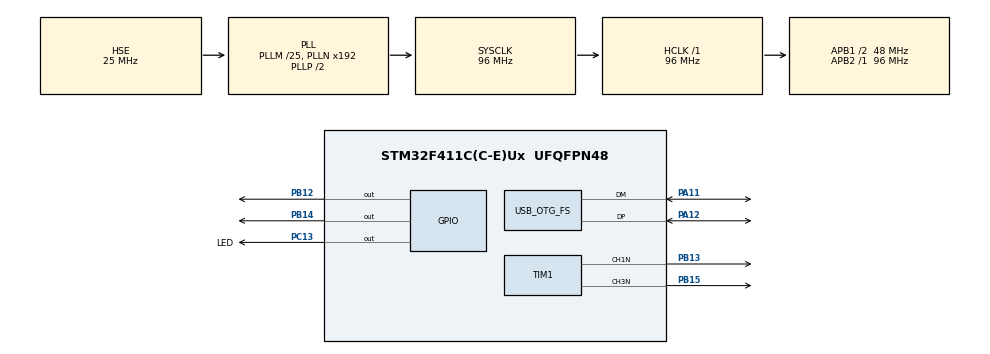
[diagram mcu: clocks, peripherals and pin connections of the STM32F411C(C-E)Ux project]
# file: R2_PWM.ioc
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Mcu.Family=STM32F4
Mcu.Name=STM32F411C(C-E)Ux
Mcu.Package=UFQFPN48
NVIC.OTG_FS_IRQn=true\:0\:0\:false\:false\:true\:false\:true\:true
NVIC.PriorityGroup=NVIC_PRIORITYGROUP_4
PA11.Mode=Device_Only
PA11.Signal=USB_OTG_FS_DM
PA12.Mode=Device_Only
PA12.Signal=USB_OTG_FS_DP
PB12.Signal=GPIO_Output
PB13.Mode=PWM Generation1 CH1N
PB13.Signal=TIM1_CH1N
PB14.Signal=GPIO_Output
PB15.Mode=PWM Generation3 CH3N
PB15.Signal=TIM1_CH3N
PC13-ANTI_TAMP.GPIO_Label=LED
PC13-ANTI_TAMP.Signal=GPIO_Output
PH0\ -\ OSC_IN.Mode=HSE-External-Oscillator
PH0\ -\ OSC_IN.Signal=RCC_OSC_IN
PH1\ -\ OSC_OUT.Mode=HSE-External-Oscillator
PH1\ -\ OSC_OUT.Signal=RCC_OSC_OUT
ProjectManager.HeapSize=0x200
ProjectManager.StackSize=0x400
ProjectManager.TargetToolchain=STM32CubeIDE
RCC.48MHZClocksFreq_Value=48000000
RCC.AHBFreq_Value=96000000
RCC.APB1CLKDivider=RCC_HCLK_DIV2
RCC.APB1Freq_Value=48000000
RCC.APB1TimFreq_Value=96000000
RCC.APB2Freq_Value=96000000
RCC.APB2TimFreq_Value=96000000
RCC.CortexFreq_Value=96000000
RCC.HCLKFreq_Value=96000000
RCC.HSE_VALUE=25000000
RCC.HSI_VALUE=16000000
RCC.LSE_VALUE=32768
RCC.PLLM=25
RCC.SYSCLKFreq_VALUE=96000000
RCC.SYSCLKSource=RCC_SYSCLKSOURCE_PLLCLK
RCC.VCOOutputFreq_Value=192000000
TIM1.Channel-PWM\ Generation1\ CH1N=TIM_CHANNEL_1
TIM1.Channel-PWM\ Generation3\ CH3N=TIM_CHANNEL_3
USB_DEVICE.CLASS_NAME_FS=CDC
USB_DEVICE.VirtualMode=Cdc
USB_DEVICE.VirtualModeFS=Cdc_FS
USB_OTG_FS.VirtualMode=Device_Only
VP_TIM1_VS_ClockSourceINT.Mode=Internal
VP_USB_DEVICE_VS_USB_DEVICE_CDC_FS.Mode=CDC_FS
board=custom

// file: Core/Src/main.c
/* USER CODE BEGIN Header */
/**
 ******************************************************************************
 * @file           : main.c
 * @brief          : Main program body
 ******************************************************************************
 * @attention
 *
 * Copyright (c) 2024 STMicroelectronics.
 * All rights reserved.
 *
 * This software is licensed under terms that can be found in the LICENSE file
 * in the root directory of this software component.
 * If no LICENSE file comes with this software, it is provided AS-IS.
 *
 ******************************************************************************
 */
/* USER CODE END Header */
#include "main.h"
#include "usb_device.h"

/* USER CODE BEGIN Includes */
#include "usbd_cdc_if.h"
#include "string.h"

/* USER CODE END Includes */

/* USER CODE BEGIN PD */
#define BUFFER_LENGTH 64
#define SOL_INTERVAL 10000
#define LEFT_SHIFT 8

/* USER CODE END PD */

TIM_HandleTypeDef htim1;

/* USER CODE BEGIN PV */
char buffer[BUFFER_LENGTH];

/* USER CODE END PV */

void SystemClock_Config(void);
static void MX_GPIO_Init(void);
static void MX_TIM1_Init(void);

/* USER CODE BEGIN 0 */
int isCleared(char *buffer) {
	for (uint8_t i = 0; i < BUFFER_LENGTH; i++) {
		if (buffer[i] != '\0') {
			return 0;  // Buffer is not cleared
		}
	}
	return 1;  // Buffer is cleared
}

/* USER CODE END 0 */

int main(void)
{

  /* USER CODE BEGIN 1 */
	uint32_t lastSOL = 0;

	int8_t dir[2] = { 0 };
	int16_t pwm[2] = { 0 };

	char message[BUFFER_LENGTH + 20];
  /* USER CODE END 1 */

  /* MCU Configuration--------------------------------------------------------*/

  /* Reset of all peripherals, Initializes the Flash interface and the Systick. */
  HAL_Init();

  /* Configure the system clock */
  SystemClock_Config();

  /* Initialize all configured peripherals */
  MX_GPIO_Init();
  MX_USB_DEVICE_Init();
  MX_TIM1_Init();
  /* USER CODE BEGIN 2 */
	if ((HAL_TIMEx_PWMN_Start(&htim1, TIM_CHANNEL_1) == HAL_OK)) {	//<-MOTORS HERE
		sprintf(message, "TIM1->CH1N active\n\r");
	} else {
		sprintf(message, "TIM1->CH1N error\n\r");
	}
	CDC_Transmit_FS((uint8_t*) message, strlen(message));
	HAL_Delay(1);

	if ((HAL_TIMEx_PWMN_Start(&htim1, TIM_CHANNEL_3) == HAL_OK)) {
		sprintf(message, "TIM1->CH3N active\n\r");
	} else {
		sprintf(message, "TIM1->CH3N error\n\r");
	}
	CDC_Transmit_FS((uint8_t*) message, strlen(message));
	HAL_Delay(1);

	sprintf(message, "F411 Black Pill online\n\r");
	CDC_Transmit_FS((uint8_t*) message, strlen(message));
	HAL_Delay(1);

  /* USER CODE END 2 */

  /* Infinite loop */
  /* USER CODE BEGIN WHILE */
	while (1) {
		uint32_t current_time = HAL_GetTick();

		if (!isCleared(buffer)) {
			char receivedStr[BUFFER_LENGTH];

			sprintf(message, "String Received: %s\n\r", buffer);
			CDC_Transmit_FS((uint8_t*) message, strlen(message));

			sprintf(receivedStr, "%s", buffer);
			uint8_t receivedStrlen = strlen(receivedStr);

			if (receivedStr[receivedStrlen - 1] == 'A') {
				uint8_t arrIndex = 1;
				uint8_t multiplier = 1;

				for (uint8_t i = 0; i < 2; i++) {
					dir[i] = 0;
					pwm[i] = 0;
				}

				for (int8_t i = receivedStrlen - 2; i >= 0; i--) {
					if (receivedStr[i] >= '0' && receivedStr[i] <= '9') {
						pwm[arrIndex] += (receivedStr[i] - '0') * multiplier;
						multiplier *= 10;
					} else if (receivedStr[i] == '-') {
						dir[arrIndex] = 1;
					} else if (receivedStr[i] == ',') {
						arrIndex--;
						multiplier = 1;
					}
				}
			}

			sprintf(message, "Dir0: %d PWM0: %d Dir1: %d PWM1: %d\n\r", dir[0],
					pwm[0], dir[1], pwm[1]);
			CDC_Transmit_FS((uint8_t*) message, strlen(message));

			HAL_GPIO_WritePin(GPIOB, GPIO_PIN_12, dir[0]);		//<-MOTORS HERE
			TIM1->CCR1 = pwm[0] << LEFT_SHIFT;
			HAL_GPIO_WritePin(GPIOB, GPIO_PIN_14, dir[1]);
			TIM1->CCR3 = pwm[1] << LEFT_SHIFT;

			memset(buffer, '\0', BUFFER_LENGTH);

		} else if (current_time - lastSOL >= SOL_INTERVAL) {
			CDC_Transmit_FS((uint8_t*) "SOL\n\r", strlen("SOL\n\r"));
			lastSOL = current_time;
		}

		HAL_Delay(1);
    /* USER CODE END WHILE */

	}
}

void SystemClock_Config(void)
{
  RCC_OscInitTypeDef RCC_OscInitStruct = {0};
  RCC_ClkInitTypeDef RCC_ClkInitStruct = {0};

  /** Configure the main internal regulator output voltage
  */
  __HAL_RCC_PWR_CLK_ENABLE();
  __HAL_PWR_VOLTAGESCALING_CONFIG(PWR_REGULATOR_VOLTAGE_SCALE1);

  /** Initializes the RCC Oscillators according to the specified parameters
  * in the RCC_OscInitTypeDef structure.
  */
  RCC_OscInitStruct.OscillatorType = RCC_OSCILLATORTYPE_HSE;
  RCC_OscInitStruct.HSEState = RCC_HSE_ON;
  RCC_OscInitStruct.PLL.PLLState = RCC_PLL_ON;
  RCC_OscInitStruct.PLL.PLLSource = RCC_PLLSOURCE_HSE;
  RCC_OscInitStruct.PLL.PLLM = 25;
  RCC_OscInitStruct.PLL.PLLN = 192;
  RCC_OscInitStruct.PLL.PLLP = RCC_PLLP_DIV2;
  RCC_OscInitStruct.PLL.PLLQ = 4;
  if (HAL_RCC_OscConfig(&RCC_OscInitStruct) != HAL_OK)
  {
    Error_Handler();
  }

  /** Initializes the CPU, AHB and APB buses clocks
  */
  RCC_ClkInitStruct.ClockType = RCC_CLOCKTYPE_HCLK|RCC_CLOCKTYPE_SYSCLK
                              |RCC_CLOCKTYPE_PCLK1|RCC_CLOCKTYPE_PCLK2;
  RCC_ClkInitStruct.SYSCLKSource = RCC_SYSCLKSOURCE_PLLCLK;
  RCC_ClkInitStruct.AHBCLKDivider = RCC_SYSCLK_DIV1;
  RCC_ClkInitStruct.APB1CLKDivider = RCC_HCLK_DIV2;
  RCC_ClkInitStruct.APB2CLKDivider = RCC_HCLK_DIV1;

  if (HAL_RCC_ClockConfig(&RCC_ClkInitStruct, FLASH_LATENCY_3) != HAL_OK)
  {
    Error_Handler();
  }
}

static void MX_TIM1_Init(void)
{

  TIM_ClockConfigTypeDef sClockSourceConfig = {0};
  TIM_MasterConfigTypeDef sMasterConfig = {0};
  TIM_OC_InitTypeDef sConfigOC = {0};
  TIM_BreakDeadTimeConfigTypeDef sBreakDeadTimeConfig = {0};

  htim1.Instance = TIM1;
  htim1.Init.Prescaler = 0;
  htim1.Init.CounterMode = TIM_COUNTERMODE_UP;
  htim1.Init.Period = 65535;
  htim1.Init.ClockDivision = TIM_CLOCKDIVISION_DIV1;
  htim1.Init.RepetitionCounter = 0;
  htim1.Init.AutoReloadPreload = TIM_AUTORELOAD_PRELOAD_DISABLE;
  if (HAL_TIM_Base_Init(&htim1) != HAL_OK)
  {
    Error_Handler();
  }
  sClockSourceConfig.ClockSource = TIM_CLOCKSOURCE_INTERNAL;
  if (HAL_TIM_ConfigClockSource(&htim1, &sClockSourceConfig) != HAL_OK)
  {
    Error_Handler();
  }
  if (HAL_TIM_PWM_Init(&htim1) != HAL_OK)
  {
    Error_Handler();
  }
  sMasterConfig.MasterOutputTrigger = TIM_TRGO_RESET;
  sMasterConfig.MasterSlaveMode = TIM_MASTERSLAVEMODE_DISABLE;
  if (HAL_TIMEx_MasterConfigSynchronization(&htim1, &sMasterConfig) != HAL_OK)
  {
    Error_Handler();
  }
  sConfigOC.OCMode = TIM_OCMODE_PWM1;
  sConfigOC.Pulse = 0;
  sConfigOC.OCPolarity = TIM_OCPOLARITY_HIGH;
  sConfigOC.OCNPolarity = TIM_OCNPOLARITY_HIGH;
  sConfigOC.OCFastMode = TIM_OCFAST_DISABLE;
  sConfigOC.OCIdleState = TIM_OCIDLESTATE_RESET;
  sConfigOC.OCNIdleState = TIM_OCNIDLESTATE_RESET;
  if (HAL_TIM_PWM_ConfigChannel(&htim1, &sConfigOC, TIM_CHANNEL_1) != HAL_OK)
  {
    Error_Handler();
  }
  if (HAL_TIM_PWM_ConfigChannel(&htim1, &sConfigOC, TIM_CHANNEL_3) != HAL_OK)
  {
    Error_Handler();
  }
  sBreakDeadTimeConfig.OffStateRunMode = TIM_OSSR_DISABLE;
  sBreakDeadTimeConfig.OffStateIDLEMode = TIM_OSSI_DISABLE;
  sBreakDeadTimeConfig.LockLevel = TIM_LOCKLEVEL_OFF;
  sBreakDeadTimeConfig.DeadTime = 0;
  sBreakDeadTimeConfig.BreakState = TIM_BREAK_DISABLE;
  sBreakDeadTimeConfig.BreakPolarity = TIM_BREAKPOLARITY_HIGH;
  sBreakDeadTimeConfig.AutomaticOutput = TIM_AUTOMATICOUTPUT_DISABLE;
  if (HAL_TIMEx_ConfigBreakDeadTime(&htim1, &sBreakDeadTimeConfig) != HAL_OK)
  {
    Error_Handler();
  }
  HAL_TIM_MspPostInit(&htim1);

}

static void MX_GPIO_Init(void)
{
  GPIO_InitTypeDef GPIO_InitStruct = {0};

  /* GPIO Ports Clock Enable */
  __HAL_RCC_GPIOC_CLK_ENABLE();
  __HAL_RCC_GPIOH_CLK_ENABLE();
  __HAL_RCC_GPIOB_CLK_ENABLE();
  __HAL_RCC_GPIOA_CLK_ENABLE();

  /*Configure GPIO pin Output Level */
  HAL_GPIO_WritePin(LED_GPIO_Port, LED_Pin, GPIO_PIN_RESET);

  /*Configure GPIO pin Output Level */
  HAL_GPIO_WritePin(GPIOB, GPIO_PIN_12|GPIO_PIN_14, GPIO_PIN_RESET);

  /*Configure GPIO pin : LED_Pin */
  GPIO_InitStruct.Pin = LED_Pin;
  GPIO_InitStruct.Mode = GPIO_MODE_OUTPUT_PP;
  GPIO_InitStruct.Pull = GPIO_NOPULL;
  GPIO_InitStruct.Speed = GPIO_SPEED_FREQ_LOW;
  HAL_GPIO_Init(LED_GPIO_Port, &GPIO_InitStruct);

  /*Configure GPIO pins : PB12 PB14 */
  GPIO_InitStruct.Pin = GPIO_PIN_12|GPIO_PIN_14;
  GPIO_InitStruct.Mode = GPIO_MODE_OUTPUT_PP;
  GPIO_InitStruct.Pull = GPIO_NOPULL;
  GPIO_InitStruct.Speed = GPIO_SPEED_FREQ_LOW;
  HAL_GPIO_Init(GPIOB, &GPIO_InitStruct);

}

void Error_Handler(void)
{
	__disable_irq();
	while (1) {
	}
}
